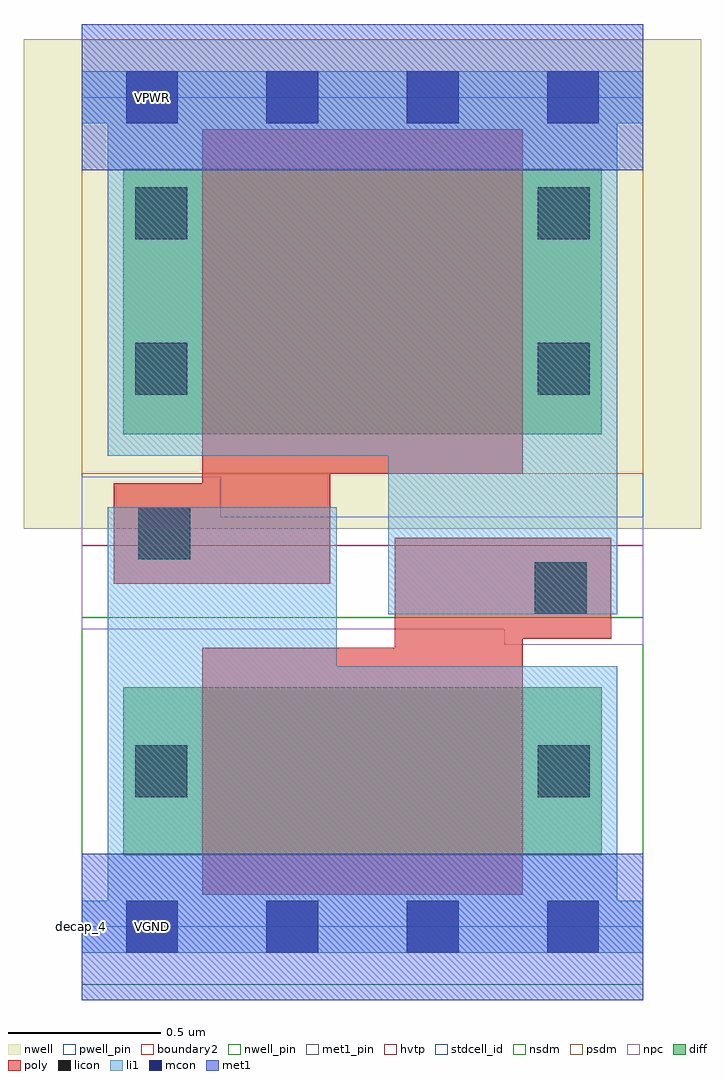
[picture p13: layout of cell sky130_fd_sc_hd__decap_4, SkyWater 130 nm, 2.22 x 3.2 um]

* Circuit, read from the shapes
.subckt sky130_fd_sc_hd__decap_4 VGND VNB VPB VPWR
XM1 VGND VPWR VGND VNB sky130_fd_pr__nfet_01v8 w=0.55 l=1.05
XM2 VPWR VGND VPWR VPB sky130_fd_pr__pfet_01v8_hvt w=0.87 l=1.05
.ends

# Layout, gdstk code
import gdstk
lib = gdstk.Library(unit=1e-6, precision=1e-09)
def R(c, l, rs):  # rectangles x0, y0, x1, y1
    for r in rs: c.add(gdstk.rectangle(r[:2], r[2:], *l))
def A(c, l, x, y, w, h, nx, ny, dx, dy):  # array of equal rectangles
    R(c, l, [(x+i*dx, y+j*dy, x+i*dx+w, y+j*dy+h) for i in range(nx) for j in range(ny)])
def P(c, l, *ps):  # polygons
    for p in ps: c.add(gdstk.Polygon(p, *l))
nwell_pin = (64, 16)
nwell = (64, 20)
diff = (65, 20)
poly = (66, 20)
licon = (66, 44)
li1 = (67, 20)
mcon = (67, 44)
met1_pin = (68, 16)
met1 = (68, 20)
hvtp = (78, 44)
stdcell_id = (81, 4)
nsdm = (93, 44)
psdm = (94, 20)
npc = (95, 20)
pwell_pin = (122, 16)
boundary2 = (236, 0)

sky130_fd_sc_hd__decap_4 = lib.new_cell('sky130_fd_sc_hd__decap_4')
R(sky130_fd_sc_hd__decap_4, nwell_pin, [(0.145,2.635,0.315,2.805)])
R(sky130_fd_sc_hd__decap_4, nwell, [(-0.19,1.305,2.03,2.91)])
R(sky130_fd_sc_hd__decap_4, diff, [(0.135,0.235,1.705,0.785), (0.135,1.615,1.705,2.485)])
P(sky130_fd_sc_hd__decap_4, poly, [(1.445,2.615),(0.395,2.615),(0.395,1.455),(0.105,1.455),(0.105,1.125),(0.815,1.125),(0.815,1.485),(1.445,1.485)],
  [(1.735,1.275),(1.025,1.275),(1.025,0.915),(0.395,0.915),(0.395,0.105),(1.445,0.105),(1.445,0.945),(1.735,0.945)])
R(sky130_fd_sc_hd__decap_4, licon, [(0.175,0.425,0.345,0.595), (1.495,0.425,1.665,0.595), (1.485,1.025,1.655,1.195), (0.185,1.205,0.355,1.375), (0.175,1.745,0.345,1.915), (1.495,1.745,1.665,1.915), (0.175,2.255,0.345,2.425), (1.495,2.255,1.665,2.425)])
P(sky130_fd_sc_hd__decap_4, li1, [(1.84,2.805),(0,2.805),(0,2.635),(0.085,2.635),(0.085,1.545),(1.005,1.545),(1.005,1.025),(1.755,1.025),(1.755,2.635),(1.84,2.635)],
  [(1.84,0.085),(1.755,0.085),(1.755,0.855),(0.835,0.855),(0.835,1.375),(0.085,1.375),(0.085,0.085),(0,0.085),(0,-0.085),(1.84,-0.085)])
A(sky130_fd_sc_hd__decap_4, mcon, 0.145, -0.085, 0.17, 0.17, 4, 2, 0.46, 2.72)
R(sky130_fd_sc_hd__decap_4, met1_pin, [(0.145,-0.085,0.315,0.085), (0.145,2.635,0.315,2.805)])
R(sky130_fd_sc_hd__decap_4, hvtp, [(0,1.25,1.84,2.72)])
R(sky130_fd_sc_hd__decap_4, stdcell_id, [(0,0,1.84,2.72)])
R(sky130_fd_sc_hd__decap_4, nsdm, [(0,-0.19,1.84,1.015)])
R(sky130_fd_sc_hd__decap_4, psdm, [(0,1.485,1.84,2.91)])
P(sky130_fd_sc_hd__decap_4, npc, [(1.84,1.345),(0.455,1.345),(0.455,1.475),(0,1.475),(0,0.975),(1.385,0.975),(1.385,0.925),(1.84,0.925)])
R(sky130_fd_sc_hd__decap_4, pwell_pin, [(0.145,-0.085,0.315,0.085)])
R(sky130_fd_sc_hd__decap_4, boundary2, [(0,0,1.84,2.72)])
sky130_fd_sc_hd__decap_4.add(gdstk.FlexPath([(0,2.72),(1.84,2.72)], 0.48, ends="flush", simple_path=True, layer=68, datatype=20))  # met1
sky130_fd_sc_hd__decap_4.add(gdstk.FlexPath([(0,0),(1.84,0)], 0.48, ends="flush", simple_path=True, layer=68, datatype=20))  # met1
sky130_fd_sc_hd__decap_4.add(gdstk.Label('VGND', (0.23,0), layer=68, texttype=5))
sky130_fd_sc_hd__decap_4.add(gdstk.Label('VPWR', (0.23,2.72), layer=68, texttype=5))
sky130_fd_sc_hd__decap_4.add(gdstk.Label('VPB', (0.23,2.72), layer=64, texttype=5))
sky130_fd_sc_hd__decap_4.add(gdstk.Label('VNB', (0.23,0), layer=64, texttype=59))
sky130_fd_sc_hd__decap_4.add(gdstk.Label('decap_4', (0,0), layer=83, texttype=44))

lib.write_gds('sky130_fd_sc_hd__decap_4.gds')
